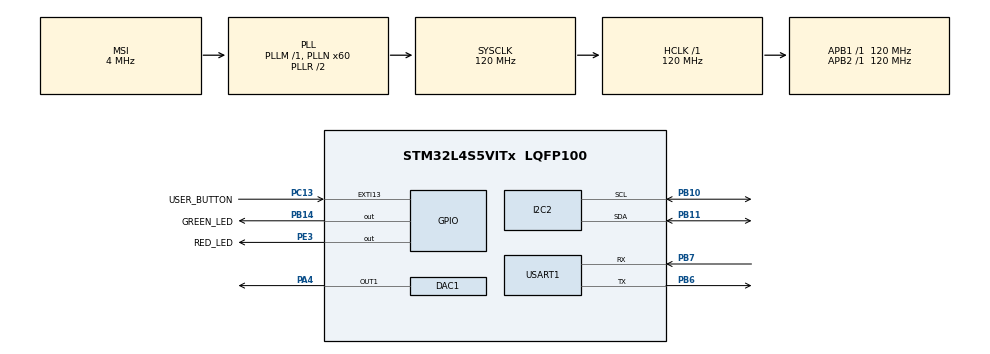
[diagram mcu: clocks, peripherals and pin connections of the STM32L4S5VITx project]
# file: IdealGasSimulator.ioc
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DAC1.DAC_Trigger-DAC_OUT1=DAC_TRIGGER_T2_TRGO
DAC1.WaveGeneration-DAC_OUT1=DISABLE
Dma.DAC1_CH1.0.Direction=DMA_MEMORY_TO_PERIPH
Dma.DAC1_CH1.0.EventEnable=DISABLE
Dma.DAC1_CH1.0.Instance=DMA1_Channel1
Dma.DAC1_CH1.0.MemDataAlignment=DMA_MDATAALIGN_HALFWORD
Dma.DAC1_CH1.0.MemInc=DMA_MINC_ENABLE
Dma.DAC1_CH1.0.Mode=DMA_CIRCULAR
Dma.DAC1_CH1.0.PeriphDataAlignment=DMA_PDATAALIGN_HALFWORD
Dma.DAC1_CH1.0.PeriphInc=DMA_PINC_DISABLE
Dma.DAC1_CH1.0.Polarity=HAL_DMAMUX_REQUEST_GEN_RISING
Dma.DAC1_CH1.0.Priority=DMA_PRIORITY_LOW
Dma.DAC1_CH1.0.RequestNumber=1
Dma.DAC1_CH1.0.SignalID=NONE
Dma.DAC1_CH1.0.SyncEnable=DISABLE
Dma.DAC1_CH1.0.SyncPolarity=HAL_DMAMUX_SYNC_NO_EVENT
Dma.DAC1_CH1.0.SyncRequestNumber=1
Dma.DAC1_CH1.0.SyncSignalID=NONE
Dma.Request0=DAC1_CH1
FREERTOS.Mutexes01=dataMutex,Dynamic,NULL
FREERTOS.Tasks01=measure,0,256,StartMeasureTask,Default,NULL,Dynamic,NULL,NULL;transmit,-3,128,StartTransmitTask,Default,NULL,Dynamic,NULL,NULL;listen,-3,128,StartListenTask,Default,NULL,Dynamic,NULL,NULL
FREERTOS.Timers01=WorkSoundEffectTimer,CallbackWorkSoundEffectTimer,osTimerPeriodic,Default,NULL,Dynamic,NULL;TempSoundEffectTimer,CallbackTempSoundEffectTimer,osTimerPeriodic,Default,NULL,Dynamic,NULL
FREERTOS.configUSE_TIMERS=1
I2C2.Timing=0x307075B1
Mcu.Family=STM32L4
Mcu.Name=STM32L4S5VITx
Mcu.Package=LQFP100
NVIC.DMA1_Channel1_IRQn=true\:5\:0\:false\:false\:true\:true\:false\:true
NVIC.EXTI15_10_IRQn=true\:5\:0\:false\:false\:true\:true\:true\:true
NVIC.PriorityGroup=NVIC_PRIORITYGROUP_4
NVIC.TIM6_DAC_IRQn=true\:0\:0\:false\:false\:true\:false\:true\:true
NVIC.TimeBase=TIM6_DAC_IRQn
NVIC.TimeBaseIP=TIM6
PA13\ (JTMS/SWDIO).Signal=SYS_JTMS-SWDIO
PA4.Signal=COMP_DAC11_group
PB10.Mode=I2C
PB10.Signal=I2C2_SCL
PB11.Mode=I2C
PB11.Signal=I2C2_SDA
PB14.GPIO_Label=GREEN_LED
PB14.Signal=GPIO_Output
PB3\ (JTDO/TRACESWO).Signal=SYS_JTDO-SWO
PB6.Mode=Asynchronous
PB6.Signal=USART1_TX
PB7.Mode=Asynchronous
PB7.Signal=USART1_RX
PC13.GPIO_Label=USER_BUTTON
PC13.Signal=GPXTI13
PE3.GPIO_Label=RED_LED
PE3.Signal=GPIO_Output
ProjectManager.HeapSize=0x200
ProjectManager.StackSize=0x400
ProjectManager.TargetToolchain=STM32CubeIDE
RCC.ADCFreq_Value=48000000
RCC.AHBFreq_Value=120000000
RCC.APB1Freq_Value=120000000
RCC.APB1TimFreq_Value=120000000
RCC.APB2Freq_Value=120000000
RCC.APB2TimFreq_Value=120000000
RCC.CortexFreq_Value=120000000
RCC.HCLKFreq_Value=120000000
RCC.HSE_VALUE=8000000
RCC.HSI48_VALUE=48000000
RCC.HSI_VALUE=16000000
RCC.LSE_VALUE=32768
RCC.MSI_VALUE=4000000
RCC.PLLN=60
RCC.PLLSAI1N=24
RCC.SYSCLKFreq_VALUE=120000000
RCC.SYSCLKSource=RCC_SYSCLKSOURCE_PLLCLK
RCC.USBFreq_Value=48000000
RCC.VCOOutputFreq_Value=240000000
SH.COMP_DAC11_group.0=DAC1_OUT1,DAC_OUT1
TIM2.Period=2500
TIM2.Prescaler=0
TIM2.TIM_MasterOutputTrigger=TIM_TRGO_UPDATE
USART1.VirtualMode-Asynchronous=VM_ASYNC
VP_FREERTOS_VS_CMSIS_V1.Mode=CMSIS_V1
VP_SYS_VS_tim6.Mode=TIM6
VP_TIM2_VS_ClockSourceINT.Mode=Internal
board=B-L4S5I-IOT01A

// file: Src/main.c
/* USER CODE BEGIN Header */
/**
 ******************************************************************************
 * @file           : main.c
 * @brief          : Main program body
 ******************************************************************************
 * @attention
 *
 * <h2><center>&copy; Copyright (c) 2021 STMicroelectronics.
 * All rights reserved.</center></h2>
 *
 * This software component is licensed by ST under BSD 3-Clause license,
 * the "License"; You may not use this file except in compliance with the
 * License. You may obtain a copy of the License at:
 *                        opensource.org/licenses/BSD-3-Clause
 *
 ******************************************************************************
 */
/* USER CODE END Header */
#include "main.h"
#include "cmsis_os.h"

/* USER CODE BEGIN Includes */
#include "arm_math.h"
#include "stm32l4s5i_iot01_gyro.h"
#include "stm32l4s5i_iot01_hsensor.h"
#include "stm32l4s5i_iot01_nfctag.h"
#include "stm32l4s5i_iot01_psensor.h"
#include "stm32l4s5i_iot01_tsensor.h"
#include <stdio.h>
#include <string.h>
#include <math.h>
#include <physics.h>
/* USER CODE END Includes */

/* USER CODE BEGIN PTD */
#define ITM_Port32(n) (*((volatile unsigned long *) (0xE0000000+4*n)))
/* USER CODE END PTD */

/* USER CODE BEGIN PM */
#define MAX_12 4095
#define LOOKUP_LEN 180
/* USER CODE END PM */

DAC_HandleTypeDef hdac1;
DMA_HandleTypeDef hdma_dac1_ch1;

I2C_HandleTypeDef hi2c2;

TIM_HandleTypeDef htim2;

UART_HandleTypeDef huart1;

osThreadId measureHandle;
osThreadId transmitHandle;
osThreadId listenHandle;
osTimerId WorkSoundEffectTimerHandle;
osTimerId TempSoundEffectTimerHandle;
osMutexId dataMutexHandle;

void SystemClock_Config(void);
static void MX_GPIO_Init(void);
static void MX_DMA_Init(void);
static void MX_I2C2_Init(void);
static void MX_USART1_UART_Init(void);
static void MX_TIM2_Init(void);
static void MX_DAC1_Init(void);
void StartMeasureTask(void const * argument);
void StartTransmitTask(void const * argument);
void StartListenTask(void const * argument);
void CallbackWorkSoundEffectTimer(void const * argument);
void CallbackTempSoundEffectTimer(void const * argument);

/* USER CODE BEGIN PFP */
void HAL_GPIO_EXTI_Callback(uint16_t GPIO_Pin);
void HAL_TIM_PeriodElapsedCallback(TIM_HandleTypeDef *htim);
/* USER CODE END PFP */

/* USER CODE BEGIN 0 */
uint8_t buffer[150];
float gyro[3];
float pressure;
float temperature;
float work;
uint8_t note = 0;
int8_t ringtone = -1;
uint8_t chordUpdate = 0;
uint16_t sin_lookup_chord[180]; // lcm(45, 36, 30)
uint16_t sin_lookup_C6[180]; // 1046.5 Hz, sample rate = 48kHz
uint16_t sin_lookup_E6[180]; // 1318.51 Hz
uint16_t sin_lookup_G6[180]; // 1567.98 Hz
struct KalmanState ksTemp = {
 		  .q = 0.01,
 		  .r = 1,
 		  .x = 25,
 		  .p = 0.1,
 		  .k = 0.0
 };
struct KalmanState ksWork = {
 		  .q = 0.01,
 		  .r = 0.9,
 		  .x = 0,
 		  .p = 0.01,
 		  .k = 0.0
 };
/* USER CODE END 0 */

int main(void)
{
  /* USER CODE BEGIN 1 */
	for (int i = 0; i < LOOKUP_LEN; i++) {
		sin_lookup_C6[i] = (MAX_12 * 0.6 * (arm_sin_f32(6.283 * i / 45) + 1));
	}
	for (int i = 0; i < LOOKUP_LEN; i++) {
		sin_lookup_E6[i] = (MAX_12 * 0.6 * (arm_sin_f32(6.283 * i / 36) + 1));
	}
	for (int i = 0; i < LOOKUP_LEN; i++) {
		sin_lookup_G6[i] = (MAX_12 * 0.6 * (arm_sin_f32(6.283 * i / 30) + 1));
	}
	memset(sin_lookup_chord, 0, sizeof(sin_lookup_chord));
  /* USER CODE END 1 */

  /* MCU Configuration--------------------------------------------------------*/

  /* Reset of all peripherals, Initializes the Flash interface and the Systick. */
  HAL_Init();

  /* Configure the system clock */
  SystemClock_Config();

  /* Initialize all configured peripherals */
  MX_GPIO_Init();
  MX_DMA_Init();
  MX_I2C2_Init();
  MX_USART1_UART_Init();
  MX_TIM2_Init();
  MX_DAC1_Init();
  /* USER CODE BEGIN 2 */
	// Initialize individual sensors
	BSP_GYRO_Init();
	BSP_TSENSOR_Init();
	BSP_PSENSOR_Init();
	// Initialize Sound Effect Player
	HAL_TIM_Base_Start(&htim2);

  /* USER CODE END 2 */

  /* Create the mutex(es) */
  /* definition and creation of dataMutex */
  osMutexDef(dataMutex);
  dataMutexHandle = osMutexCreate(osMutex(dataMutex));

  /* Create the timer(s) */
  /* definition and creation of WorkSoundEffectTimer */
  osTimerDef(WorkSoundEffectTimer, CallbackWorkSoundEffectTimer);
  WorkSoundEffectTimerHandle = osTimerCreate(osTimer(WorkSoundEffectTimer), osTimerPeriodic, NULL);

  /* definition and creation of TempSoundEffectTimer */
  osTimerDef(TempSoundEffectTimer, CallbackTempSoundEffectTimer);
  TempSoundEffectTimerHandle = osTimerCreate(osTimer(TempSoundEffectTimer), osTimerPeriodic, NULL);

  /* Create the thread(s) */
  /* definition and creation of measure */
  osThreadDef(measure, StartMeasureTask, osPriorityNormal, 0, 256);
  measureHandle = osThreadCreate(osThread(measure), NULL);

  /* definition and creation of transmit */
  osThreadDef(transmit, StartTransmitTask, osPriorityIdle, 0, 128);
  transmitHandle = osThreadCreate(osThread(transmit), NULL);

  /* definition and creation of listen */
  osThreadDef(listen, StartListenTask, osPriorityIdle, 0, 128);
  listenHandle = osThreadCreate(osThread(listen), NULL);

  /* Start scheduler */
  osKernelStart();

  /* We should never get here as control is now taken by the scheduler */
  /* Infinite loop */
	while (1) {

	}
}

void SystemClock_Config(void)
{
  RCC_OscInitTypeDef RCC_OscInitStruct = {0};
  RCC_ClkInitTypeDef RCC_ClkInitStruct = {0};
  RCC_PeriphCLKInitTypeDef PeriphClkInit = {0};

  /** Configure the main internal regulator output voltage
  */
  if (HAL_PWREx_ControlVoltageScaling(PWR_REGULATOR_VOLTAGE_SCALE1_BOOST) != HAL_OK)
  {
    Error_Handler();
  }
  /** Initializes the RCC Oscillators according to the specified parameters
  * in the RCC_OscInitTypeDef structure.
  */
  RCC_OscInitStruct.OscillatorType = RCC_OSCILLATORTYPE_MSI;
  RCC_OscInitStruct.MSIState = RCC_MSI_ON;
  RCC_OscInitStruct.MSICalibrationValue = 0;
  RCC_OscInitStruct.MSIClockRange = RCC_MSIRANGE_6;
  RCC_OscInitStruct.PLL.PLLState = RCC_PLL_ON;
  RCC_OscInitStruct.PLL.PLLSource = RCC_PLLSOURCE_MSI;
  RCC_OscInitStruct.PLL.PLLM = 1;
  RCC_OscInitStruct.PLL.PLLN = 60;
  RCC_OscInitStruct.PLL.PLLP = RCC_PLLP_DIV2;
  RCC_OscInitStruct.PLL.PLLQ = RCC_PLLQ_DIV2;
  RCC_OscInitStruct.PLL.PLLR = RCC_PLLR_DIV2;
  if (HAL_RCC_OscConfig(&RCC_OscInitStruct) != HAL_OK)
  {
    Error_Handler();
  }
  /** Initializes the CPU, AHB and APB buses clocks
  */
  RCC_ClkInitStruct.ClockType = RCC_CLOCKTYPE_HCLK|RCC_CLOCKTYPE_SYSCLK
                              |RCC_CLOCKTYPE_PCLK1|RCC_CLOCKTYPE_PCLK2;
  RCC_ClkInitStruct.SYSCLKSource = RCC_SYSCLKSOURCE_PLLCLK;
  RCC_ClkInitStruct.AHBCLKDivider = RCC_SYSCLK_DIV1;
  RCC_ClkInitStruct.APB1CLKDivider = RCC_HCLK_DIV1;
  RCC_ClkInitStruct.APB2CLKDivider = RCC_HCLK_DIV1;

  if (HAL_RCC_ClockConfig(&RCC_ClkInitStruct, FLASH_LATENCY_5) != HAL_OK)
  {
    Error_Handler();
  }
  PeriphClkInit.PeriphClockSelection = RCC_PERIPHCLK_USART1|RCC_PERIPHCLK_I2C2;
  PeriphClkInit.Usart1ClockSelection = RCC_USART1CLKSOURCE_PCLK2;
  PeriphClkInit.I2c2ClockSelection = RCC_I2C2CLKSOURCE_PCLK1;
  if (HAL_RCCEx_PeriphCLKConfig(&PeriphClkInit) != HAL_OK)
  {
    Error_Handler();
  }
}

static void MX_DAC1_Init(void)
{

  DAC_ChannelConfTypeDef sConfig = {0};

  /** DAC Initialization
  */
  hdac1.Instance = DAC1;
  if (HAL_DAC_Init(&hdac1) != HAL_OK)
  {
    Error_Handler();
  }
  /** DAC channel OUT1 config
  */
  sConfig.DAC_SampleAndHold = DAC_SAMPLEANDHOLD_DISABLE;
  sConfig.DAC_Trigger = DAC_TRIGGER_T2_TRGO;
  sConfig.DAC_HighFrequency = DAC_HIGH_FREQUENCY_INTERFACE_MODE_DISABLE;
  sConfig.DAC_OutputBuffer = DAC_OUTPUTBUFFER_ENABLE;
  sConfig.DAC_ConnectOnChipPeripheral = DAC_CHIPCONNECT_DISABLE;
  sConfig.DAC_UserTrimming = DAC_TRIMMING_FACTORY;
  if (HAL_DAC_ConfigChannel(&hdac1, &sConfig, DAC_CHANNEL_1) != HAL_OK)
  {
    Error_Handler();
  }

}

static void MX_I2C2_Init(void)
{

  hi2c2.Instance = I2C2;
  hi2c2.Init.Timing = 0x307075B1;
  hi2c2.Init.OwnAddress1 = 0;
  hi2c2.Init.AddressingMode = I2C_ADDRESSINGMODE_7BIT;
  hi2c2.Init.DualAddressMode = I2C_DUALADDRESS_DISABLE;
  hi2c2.Init.OwnAddress2 = 0;
  hi2c2.Init.OwnAddress2Masks = I2C_OA2_NOMASK;
  hi2c2.Init.GeneralCallMode = I2C_GENERALCALL_DISABLE;
  hi2c2.Init.NoStretchMode = I2C_NOSTRETCH_DISABLE;
  if (HAL_I2C_Init(&hi2c2) != HAL_OK)
  {
    Error_Handler();
  }
  /** Configure Analogue filter
  */
  if (HAL_I2CEx_ConfigAnalogFilter(&hi2c2, I2C_ANALOGFILTER_ENABLE) != HAL_OK)
  {
    Error_Handler();
  }
  /** Configure Digital filter
  */
  if (HAL_I2CEx_ConfigDigitalFilter(&hi2c2, 0) != HAL_OK)
  {
    Error_Handler();
  }

}

static void MX_TIM2_Init(void)
{

  TIM_ClockConfigTypeDef sClockSourceConfig = {0};
  TIM_MasterConfigTypeDef sMasterConfig = {0};

  htim2.Instance = TIM2;
  htim2.Init.Prescaler = 0;
  htim2.Init.CounterMode = TIM_COUNTERMODE_UP;
  htim2.Init.Period = 2500;
  htim2.Init.ClockDivision = TIM_CLOCKDIVISION_DIV1;
  htim2.Init.AutoReloadPreload = TIM_AUTORELOAD_PRELOAD_DISABLE;
  if (HAL_TIM_Base_Init(&htim2) != HAL_OK)
  {
    Error_Handler();
  }
  sClockSourceConfig.ClockSource = TIM_CLOCKSOURCE_INTERNAL;
  if (HAL_TIM_ConfigClockSource(&htim2, &sClockSourceConfig) != HAL_OK)
  {
    Error_Handler();
  }
  sMasterConfig.MasterOutputTrigger = TIM_TRGO_UPDATE;
  sMasterConfig.MasterSlaveMode = TIM_MASTERSLAVEMODE_DISABLE;
  if (HAL_TIMEx_MasterConfigSynchronization(&htim2, &sMasterConfig) != HAL_OK)
  {
    Error_Handler();
  }

}

static void MX_USART1_UART_Init(void)
{

  huart1.Instance = USART1;
  huart1.Init.BaudRate = 115200;
  huart1.Init.WordLength = UART_WORDLENGTH_8B;
  huart1.Init.StopBits = UART_STOPBITS_1;
  huart1.Init.Parity = UART_PARITY_NONE;
  huart1.Init.Mode = UART_MODE_TX_RX;
  huart1.Init.HwFlowCtl = UART_HWCONTROL_NONE;
  huart1.Init.OverSampling = UART_OVERSAMPLING_16;
  huart1.Init.OneBitSampling = UART_ONE_BIT_SAMPLE_DISABLE;
  huart1.Init.ClockPrescaler = UART_PRESCALER_DIV1;
  huart1.AdvancedInit.AdvFeatureInit = UART_ADVFEATURE_NO_INIT;
  if (HAL_UART_Init(&huart1) != HAL_OK)
  {
    Error_Handler();
  }
  if (HAL_UARTEx_SetTxFifoThreshold(&huart1, UART_TXFIFO_THRESHOLD_1_8) != HAL_OK)
  {
    Error_Handler();
  }
  if (HAL_UARTEx_SetRxFifoThreshold(&huart1, UART_RXFIFO_THRESHOLD_1_8) != HAL_OK)
  {
    Error_Handler();
  }
  if (HAL_UARTEx_DisableFifoMode(&huart1) != HAL_OK)
  {
    Error_Handler();
  }

}

static void MX_DMA_Init(void)
{

  /* DMA controller clock enable */
  __HAL_RCC_DMAMUX1_CLK_ENABLE();
  __HAL_RCC_DMA1_CLK_ENABLE();

  /* DMA interrupt init */
  /* DMA1_Channel1_IRQn interrupt configuration */
  HAL_NVIC_SetPriority(DMA1_Channel1_IRQn, 5, 0);
  HAL_NVIC_EnableIRQ(DMA1_Channel1_IRQn);

}

static void MX_GPIO_Init(void)
{
  GPIO_InitTypeDef GPIO_InitStruct = {0};

  /* GPIO Ports Clock Enable */
  __HAL_RCC_GPIOE_CLK_ENABLE();
  __HAL_RCC_GPIOC_CLK_ENABLE();
  __HAL_RCC_GPIOA_CLK_ENABLE();
  __HAL_RCC_GPIOB_CLK_ENABLE();

  /*Configure GPIO pin Output Level */
  HAL_GPIO_WritePin(RED_LED_GPIO_Port, RED_LED_Pin, GPIO_PIN_RESET);

  /*Configure GPIO pin Output Level */
  HAL_GPIO_WritePin(GREEN_LED_GPIO_Port, GREEN_LED_Pin, GPIO_PIN_RESET);

  /*Configure GPIO pin : RED_LED_Pin */
  GPIO_InitStruct.Pin = RED_LED_Pin;
  GPIO_InitStruct.Mode = GPIO_MODE_OUTPUT_PP;
  GPIO_InitStruct.Pull = GPIO_NOPULL;
  GPIO_InitStruct.Speed = GPIO_SPEED_FREQ_LOW;
  HAL_GPIO_Init(RED_LED_GPIO_Port, &GPIO_InitStruct);

  /*Configure GPIO pin : USER_BUTTON_Pin */
  GPIO_InitStruct.Pin = USER_BUTTON_Pin;
  GPIO_InitStruct.Mode = GPIO_MODE_IT_RISING;
  GPIO_InitStruct.Pull = GPIO_NOPULL;
  HAL_GPIO_Init(USER_BUTTON_GPIO_Port, &GPIO_InitStruct);

  /*Configure GPIO pin : GREEN_LED_Pin */
  GPIO_InitStruct.Pin = GREEN_LED_Pin;
  GPIO_InitStruct.Mode = GPIO_MODE_OUTPUT_PP;
  GPIO_InitStruct.Pull = GPIO_NOPULL;
  GPIO_InitStruct.Speed = GPIO_SPEED_FREQ_LOW;
  HAL_GPIO_Init(GREEN_LED_GPIO_Port, &GPIO_InitStruct);

  /* EXTI interrupt init*/
  HAL_NVIC_SetPriority(EXTI15_10_IRQn, 5, 0);
  HAL_NVIC_EnableIRQ(EXTI15_10_IRQn);

}

void StartMeasureTask(void const * argument)
{
  /* USER CODE BEGIN 5 */
	/* Infinite loop */
	for (;;) {
		osDelay(50);

		osMutexWait(dataMutexHandle, osWaitForever);

		memset(buffer, 0, strlen(buffer));
		BSP_GYRO_GetXYZ(gyro); // unit:mdps
		pressure = BSP_PSENSOR_ReadPressure();
		temperature = kalmanFilterA(&ksTemp, BSP_TSENSOR_ReadTemp());
		work = kalmanFilterA(&ksWork, gyro2work (gyro));
		sprintf((char*) buffer,
				"AngAc=[%d, %d, %d]\nP=%d\nT=%d\nW=%d\n",
				(int) (gyro[0]), (int) (gyro[1]), (int) (gyro[2]),
				(int) pressure, (int) temperature, (int) work);

		if (work>10) {
			ringtone = 0;
		} else if (kalmanFilterA(&ksTemp, BSP_TSENSOR_ReadTemp()) - temperature > 0.04){
			ringtone = 1;

		}
		else {
			ringtone = -1;
			}

		osSignalSet(transmitHandle, 0x0001);
		osMutexRelease(dataMutexHandle);

	}
  /* USER CODE END 5 */
}

void StartTransmitTask(void const * argument)
{
  /* USER CODE BEGIN StartTransmitTask */
	/* Infinite loop */
	for (;;) {
		osDelay(10);

		osSignalWait(0x0001, osWaitForever);
		osMutexWait(dataMutexHandle, osWaitForever);

		HAL_UART_Transmit(&huart1, buffer, strlen(buffer), 5);

		osMutexRelease(dataMutexHandle);

	}
  /* USER CODE END StartTransmitTask */
}

void StartListenTask(void const * argument)
{
  /* USER CODE BEGIN StartListenTask */
	/* Infinite loop */
	for (;;) {
		osDelay(500);
		//osSignalWait(0x0002, osWaitForever);
		osMutexWait(dataMutexHandle, osWaitForever);
		HAL_DAC_Start_DMA(&hdac1, DAC_CHANNEL_1, sin_lookup_chord, 180,
				DAC_ALIGN_12B_R);
		if (ringtone == 0) {
			HAL_GPIO_WritePin(GREEN_LED_GPIO_Port, GREEN_LED_Pin, GPIO_PIN_SET);
			osTimerStart(WorkSoundEffectTimerHandle, 250);
		}
		else if (ringtone == 1){
			HAL_GPIO_WritePin(RED_LED_GPIO_Port, RED_LED_Pin, GPIO_PIN_RESET);
			osTimerStart(TempSoundEffectTimerHandle, 250);
		}
		else{
			HAL_GPIO_WritePin(GREEN_LED_GPIO_Port, GREEN_LED_Pin, GPIO_PIN_RESET);
			HAL_GPIO_WritePin(RED_LED_GPIO_Port, RED_LED_Pin, GPIO_PIN_SET);
		}

		osMutexRelease(dataMutexHandle);
	}
  /* USER CODE END StartListenTask */
}

/* CallbackWorkSoundEffectTimer function */
void CallbackWorkSoundEffectTimer(void const * argument)
{
  /* USER CODE BEGIN CallbackWorkSoundEffectTimer */
	switch (note) {
		case 0:
			memcpy(sin_lookup_chord, sin_lookup_C6, sizeof(sin_lookup_chord));
			note += 1;
			break;
		case 1:
			memcpy(sin_lookup_chord, sin_lookup_E6, sizeof(sin_lookup_chord));
			note += 1;
			break;
		case 2:
			memcpy(sin_lookup_chord, sin_lookup_G6, sizeof(sin_lookup_chord));
			note += 1;
			break;
		default:
			note = 0;
			memset(sin_lookup_chord, 0, sizeof(sin_lookup_chord));
			HAL_DAC_Stop_DMA(&hdac1, DAC_CHANNEL_1);
			osTimerStop(WorkSoundEffectTimerHandle);

		}

  /* USER CODE END CallbackWorkSoundEffectTimer */
}

/* CallbackTempSoundEffectTimer function */
void CallbackTempSoundEffectTimer(void const * argument)
{
  /* USER CODE BEGIN CallbackTempSoundEffectTimer */
	switch (note) {
		case 0:
			memcpy(sin_lookup_chord, sin_lookup_E6, sizeof(sin_lookup_chord));
			note += 1;
			break;
		case 1:
			memcpy(sin_lookup_chord, sin_lookup_G6, sizeof(sin_lookup_chord));
			note += 1;
			break;
		case 2:
			memcpy(sin_lookup_chord, sin_lookup_C6, sizeof(sin_lookup_chord));
			note += 1;
			break;
		default:
			note = 0;
			memset(sin_lookup_chord, 0, sizeof(sin_lookup_chord));
			HAL_DAC_Stop_DMA(&hdac1, DAC_CHANNEL_1);
			osTimerStop(TempSoundEffectTimerHandle);

		}

  /* USER CODE END CallbackTempSoundEffectTimer */
}

 /**
  * @brief  Period elapsed callback in non blocking mode
  * @note   This function is called  when TIM6 interrupt took place, inside
  * HAL_TIM_IRQHandler(). It makes a direct call to HAL_IncTick() to increment
  * a global variable "uwTick" used as application time base.
  * @param  htim : TIM handle
  * @retval None
  */
void HAL_TIM_PeriodElapsedCallback(TIM_HandleTypeDef *htim)
{
  if (htim->Instance == TIM6) {
    HAL_IncTick();
  }
}

void Error_Handler(void)
{
	__disable_irq();
	while (1) {
	}
}

/************************ (C) COPYRIGHT STMicroelectronics *****END OF FILE****/
